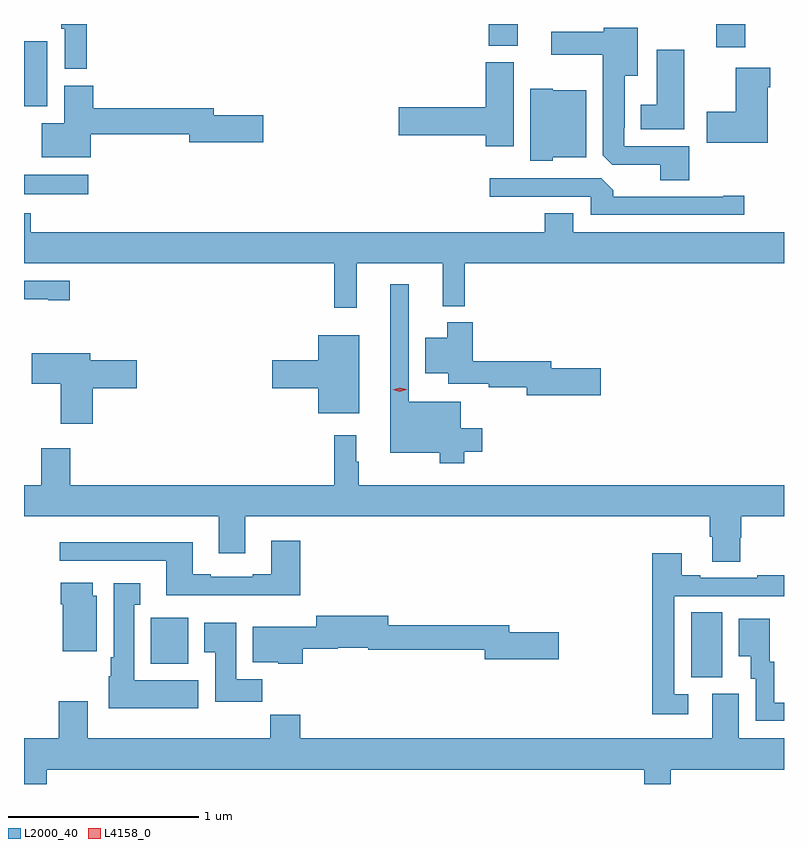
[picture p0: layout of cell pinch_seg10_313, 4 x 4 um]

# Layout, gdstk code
import gdstk
lib = gdstk.Library(unit=1e-6, precision=1e-09)
def R(c, l, rs):  # rectangles x0, y0, x1, y1
    for r in rs: c.add(gdstk.rectangle(r[:2], r[2:], *l))
def P(c, l, *ps):  # polygons
    for p in ps: c.add(gdstk.Polygon(p, *l))
L2000_40 = (2000, 40)
L4158_0 = (4158, 0)

pinch_seg10_313 = lib.new_cell('pinch_seg10_313')
R(pinch_seg10_313, L2000_40, [(414.182,1272.829,414.346,1273.172), (411.338,1272.902,411.535,1273.144), (410.671,1275.371,411.01,1275.475), (414.314,1276.146,414.467,1276.268), (413.117,1276.153,413.269,1276.268)])
P(pinch_seg10_313, L2000_40, [(411.002,1276.268),(410.866,1276.268),(410.866,1276.244),(410.886,1276.244),(410.886,1276.032),(411.002,1276.032)],
  [(414.173,1275.624),(413.829,1275.624),(413.829,1275.721),(413.833,1275.721),(413.833,1275.995),(413.902,1275.995),(413.902,1276.249),(413.721,1276.249),(413.721,1276.228),(413.445,1276.228),(413.445,1276.106),(413.717,1276.106),(413.717,1275.577),(413.766,1275.528),(414.02,1275.528),(414.02,1275.445),(414.173,1275.445)],
  [(410.794,1276.177),(410.672,1276.177),(410.672,1275.93),(410.671,1275.93),(410.671,1275.834),(410.794,1275.834)],
  [(414.145,1276.132),(414.002,1276.132),(414.002,1275.844),(413.918,1275.844),(413.918,1275.713),(414.145,1275.713)],
  [(413.248,1276.068),(413.102,1276.068),(413.102,1275.83),(412.644,1275.83),(412.644,1275.683),(413.102,1275.683),(413.102,1275.624),(413.248,1275.624)],
  [(414.586,1275.935),(414.599,1275.935),(414.599,1276.039),(414.416,1276.039),(414.416,1275.807),(414.264,1275.807),(414.264,1275.644),(414.586,1275.644)],
  [(411.022,1275.688),(411.542,1275.688),(411.542,1275.646),(411.931,1275.646),(411.931,1275.788),(411.67,1275.788),(411.67,1275.824),(411.035,1275.824),(411.035,1275.943),(410.882,1275.943),(410.882,1275.745),(410.765,1275.745),(410.765,1275.566),(411.022,1275.566)],
  [(413.454,1275.566),(413.629,1275.566),(413.629,1275.919),(413.454,1275.919),(413.454,1275.928),(413.336,1275.928),(413.336,1275.548),(413.454,1275.548)],
  [(414.463,1275.365),(414.35,1275.365),(414.35,1275.36),(413.771,1275.36),(413.771,1275.394),(413.709,1275.456),(413.121,1275.456),(413.121,1275.36),(413.655,1275.36),(413.655,1275.264),(414.463,1275.264)],
  [(412.421,1275.008),(412.874,1275.008),(412.874,1274.783),(412.991,1274.783),(412.991,1275.008),(414.671,1275.008),(414.671,1275.172),(413.563,1275.172),(413.563,1275.271),(413.411,1275.271),(413.411,1275.172),(410.707,1275.172),(410.707,1275.271),(410.671,1275.271),(410.671,1275.008),(412.303,1275.008),(412.303,1274.775),(412.421,1274.775)],
  [(410.911,1274.916),(410.671,1274.916),(410.671,1274.82),(410.798,1274.82),(410.798,1274.815),(410.911,1274.815)],
  [(412.988,1274.018),(413.083,1274.018),(413.083,1274.14),(412.969,1274.14),(412.969,1274.281),(412.695,1274.281),(412.695,1274.899),(412.598,1274.899),(412.598,1274.012),(412.86,1274.012),(412.86,1273.955),(412.988,1273.955)],
  [(413.707,1274.456),(413.446,1274.456),(413.446,1274.492),(413.033,1274.492),(413.033,1274.698),(412.898,1274.698),(412.898,1274.617),(412.784,1274.617),(412.784,1274.429),(412.904,1274.429),(412.904,1274.374),(413.116,1274.374),(413.116,1274.356),(413.318,1274.356),(413.318,1274.314),(413.707,1274.314)],
  [(412.435,1274.629),(412.22,1274.629),(412.22,1274.498),(411.978,1274.498),(411.978,1274.351),(412.22,1274.351),(412.22,1274.219),(412.435,1274.219)],
  [(411.032,1274.351),(411.265,1274.351),(411.265,1274.498),(411.019,1274.498),(411.019,1274.536),(410.712,1274.536),(410.712,1274.374),(410.864,1274.374),(410.864,1274.163),(411.032,1274.163)],
  [(414.441,1273.563),(414.446,1273.563),(414.446,1273.676),(414.671,1273.676),(414.671,1273.84),(412.432,1273.84),(412.432,1273.964),(412.42,1273.964),(412.42,1274.104),(412.303,1274.104),(412.303,1273.84),(410.915,1273.84),(410.915,1274.035),(410.762,1274.035),(410.762,1273.84),(410.671,1273.84),(410.671,1273.676),(411.695,1273.676),(411.695,1273.482),(411.835,1273.482),(411.835,1273.676),(414.281,1273.676),(414.281,1273.57),(414.293,1273.57),(414.293,1273.438),(414.441,1273.438)],
  [(412.124,1273.549),(411.971,1273.549),(411.971,1273.372),(411.875,1273.372),(411.875,1273.359),(411.655,1273.359),(411.655,1273.372),(411.559,1273.372),(411.559,1273.54),(410.859,1273.54),(410.859,1273.443),(411.419,1273.443),(411.419,1273.262),(412.124,1273.262)],
  [(414.166,1272.741),(414.093,1272.741),(414.093,1273.257),(414.671,1273.257),(414.671,1273.366),(414.529,1273.366),(414.529,1273.353),(414.229,1273.353),(414.229,1273.366),(414.133,1273.366),(414.133,1273.483),(413.977,1273.483),(413.977,1272.636),(414.166,1272.636)],
  [(411.055,1273.26),(411.034,1273.26),(411.034,1273.327),(410.864,1273.327),(410.864,1273.214),(410.876,1273.214),(410.876,1272.968),(411.055,1272.968)],
  [(411.589,1272.814),(411.25,1272.814),(411.25,1273.211),(411.283,1273.211),(411.283,1273.324),(411.143,1273.324),(411.143,1272.934),(411.128,1272.934),(411.128,1272.834),(411.116,1272.834),(411.116,1272.668),(411.589,1272.668)],
  [(412.139,1272.979),(412.322,1272.979),(412.322,1272.986),(412.484,1272.986),(412.484,1272.975),(413.096,1272.975),(413.096,1272.925),(413.485,1272.925),(413.485,1273.067),(413.224,1273.067),(413.224,1273.103),(412.588,1273.103),(412.588,1273.153),(412.208,1273.153),(412.208,1273.096),(411.875,1273.096),(411.875,1272.908),(412.008,1272.908),(412.008,1272.902),(412.139,1272.902)],
  [(414.671,1272.696),(414.619,1272.696),(414.619,1272.912),(414.595,1272.912),(414.595,1273.138),(414.434,1273.138),(414.434,1272.941),(414.497,1272.941),(414.497,1272.822),(414.522,1272.822),(414.522,1272.6),(414.671,1272.6)],
  [(411.926,1272.82),(411.787,1272.82),(411.787,1273.117),(411.62,1273.117),(411.62,1272.961),(411.677,1272.961),(411.677,1272.702),(411.926,1272.702)],
  [(413.936,1272.268),(414.075,1272.268),(414.075,1272.344),(414.671,1272.344),(414.671,1272.508),(414.433,1272.508),(414.433,1272.744),(414.293,1272.744),(414.293,1272.508),(412.124,1272.508),(412.124,1272.632),(411.967,1272.632),(411.967,1272.508),(411.007,1272.508),(411.007,1272.703),(410.855,1272.703),(410.855,1272.508),(410.671,1272.508),(410.671,1272.268),(410.792,1272.268),(410.792,1272.344),(413.936,1272.344)])
P(pinch_seg10_313, L4158_0, [(412.649,1274.333),(412.613,1274.342),(412.613,1274.342),(412.613,1274.342),(412.648,1274.353),(412.684,1274.345),(412.685,1274.344),(412.684,1274.344)])

lib.write_gds('pinch_seg10_313.gds')
